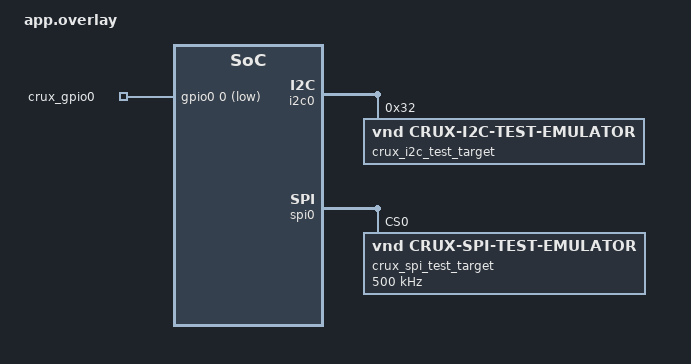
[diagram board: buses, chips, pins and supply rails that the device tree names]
/ {
	aliases { crux-gpio0 = &crux_gpio0; };
	crux_gpio_keys {
		compatible = "gpio-keys";
		crux_gpio0: input_0 {
			gpios = <&gpio0 0 GPIO_ACTIVE_LOW>;
		};
	};
};
/* Software-only I2C target for the Crux provider contract test. */
/ {
	aliases {
		crux-i2c0 = &i2c0;
	};
};

&i2c0 {
	status = "okay";
	crux_i2c_test_target: crux-i2c-test@32 {
		compatible = "vnd,crux-i2c-test-emulator";
		reg = <0x32>;
		status = "okay";
	};
};
/* Software-only SPI target for the Crux provider contract test. */
/ {
	aliases {
		crux-spi0 = &crux_spi_test_target;
	};
};

&spi0 {
	status = "okay";
	crux_spi_test_target: peripheral@0 {
		compatible = "vnd,crux-spi-test-emulator";
		reg = <0>;
		spi-max-frequency = <500000>;
		spi-cpol;
		spi-cpha;
		spi-lsb-first;
		status = "okay";
	};
};
